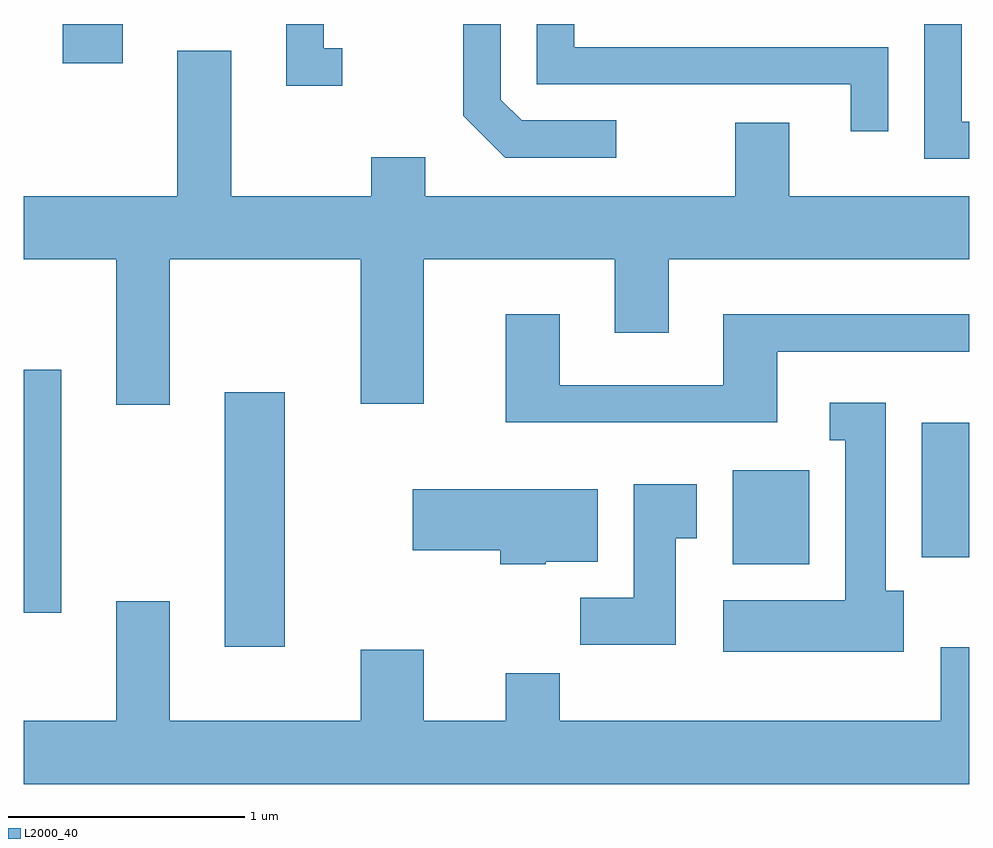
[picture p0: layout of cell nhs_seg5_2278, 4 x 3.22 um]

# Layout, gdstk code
import gdstk
lib = gdstk.Library(unit=1e-6, precision=1e-09)
def R(c, l, rs):  # rectangles x0, y0, x1, y1
    for r in rs: c.add(gdstk.rectangle(r[:2], r[2:], *l))
def P(c, l, *ps):  # polygons
    for p in ps: c.add(gdstk.Polygon(p, *l))
L2000_40 = (2000, 40)

nhs_seg5_2278 = lib.new_cell('nhs_seg5_2278')
R(nhs_seg5_2278, L2000_40, [(254.461,1397.436,254.714,1398.514), (253.611,1397.581,253.769,1398.609), (256.611,1397.786,256.934,1398.184), (257.411,1397.816,257.611,1398.384), (253.776,1399.906,254.029,1400.072)])
P(nhs_seg5_2278, L2000_40, [(257.611,1399.659),(257.579,1399.659),(257.579,1400.072),(257.421,1400.072),(257.421,1399.501),(257.611,1399.501)],
  [(254.958,1399.969),(254.879,1399.969),(254.879,1400.072),(254.721,1400.072),(254.721,1399.811),(254.958,1399.811)],
  [(256.118,1399.664),(255.717,1399.664),(255.629,1399.752),(255.629,1400.072),(255.471,1400.072),(255.471,1399.684),(255.649,1399.506),(256.118,1399.506)],
  [(257.269,1399.974),(255.939,1399.974),(255.939,1400.072),(255.781,1400.072),(255.781,1399.816),(257.111,1399.816),(257.111,1399.618),(257.269,1399.618)],
  [(254.229,1399.076),(255.036,1399.076),(255.036,1398.466),(255.304,1398.466),(255.304,1399.076),(256.111,1399.076),(256.111,1398.766),(256.339,1398.766),(256.339,1399.076),(257.611,1399.076),(257.611,1399.344),(256.849,1399.344),(256.849,1399.654),(256.621,1399.654),(256.621,1399.344),(255.309,1399.344),(255.309,1399.509),(255.081,1399.509),(255.081,1399.344),(254.489,1399.344),(254.489,1399.959),(254.261,1399.959),(254.261,1399.344),(253.611,1399.344),(253.611,1399.076),(254.001,1399.076),(254.001,1398.461),(254.229,1398.461)],
  [(256.799,1398.686),(257.611,1398.686),(257.611,1398.844),(256.571,1398.844),(256.571,1398.544),(255.879,1398.544),(255.879,1398.844),(255.651,1398.844),(255.651,1398.386),(256.799,1398.386)],
  [(257.334,1397.674),(257.259,1397.674),(257.259,1398.469),(257.022,1398.469),(257.022,1398.311),(257.086,1398.311),(257.086,1397.634),(256.571,1397.634),(256.571,1397.416),(257.334,1397.416)],
  [(256.369,1397.896),(256.459,1397.896),(256.459,1398.124),(256.191,1398.124),(256.191,1397.644),(255.966,1397.644),(255.966,1397.446),(256.369,1397.446)],
  [(255.82,1397.796),(256.039,1397.796),(256.039,1398.104),(255.256,1398.104),(255.256,1397.846),(255.626,1397.846),(255.626,1397.786),(255.82,1397.786)],
  [(255.036,1397.424),(255.036,1397.124),(254.229,1397.124),(254.229,1397.629),(254.001,1397.629),(254.001,1397.124),(253.611,1397.124),(253.611,1396.856),(257.611,1396.856),(257.611,1397.434),(257.491,1397.434),(257.491,1397.124),(255.879,1397.124),(255.879,1397.324),(255.651,1397.324),(255.651,1397.124),(255.304,1397.124),(255.304,1397.424)])

lib.write_gds('nhs_seg5_2278.gds')
